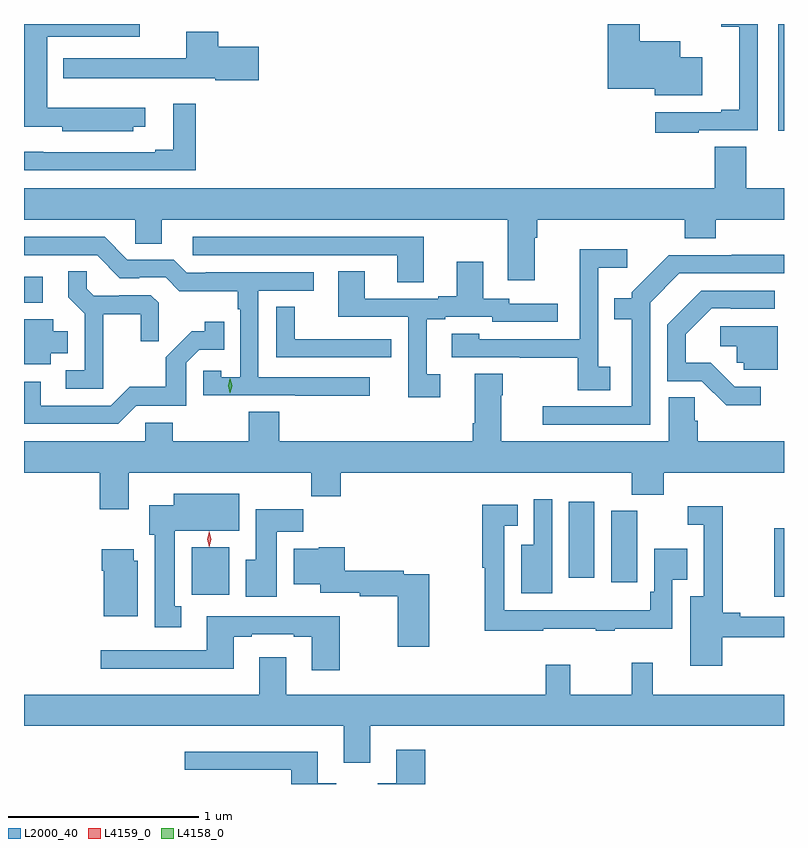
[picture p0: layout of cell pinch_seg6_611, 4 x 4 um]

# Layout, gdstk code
import gdstk
lib = gdstk.Library(unit=1e-6, precision=1e-09)
def R(c, l, rs):  # rectangles x0, y0, x1, y1
    for r in rs: c.add(gdstk.rectangle(r[:2], r[2:], *l))
def P(c, l, *ps):  # polygons
    for p in ps: c.add(gdstk.Polygon(p, *l))
L2000_40 = (2000, 40)
L4158_0 = (4158, 0)
L4159_0 = (4159, 0)

pinch_seg6_611 = lib.new_cell('pinch_seg6_611')
R(pinch_seg6_611, L2000_40, [(469.682,960.003,469.734,960.363), (466.617,960.012,466.813,960.262), (468.824,960.078,468.961,960.454), (468.602,960.102,468.736,960.502), (465.734,961.551,465.832,961.687), (469.703,962.454,469.734,963.017)])
P(pinch_seg6_611, L2000_40, [(466.308,962.477),(466.372,962.477),(466.372,962.575),(465.856,962.575),(465.856,962.949),(466.344,962.949),(466.344,963.017),(465.734,963.017),(465.734,962.477),(465.936,962.477),(465.936,962.453),(466.308,962.453)],
  [(469.303,962.842),(469.189,962.842),(469.189,962.926),(468.976,962.926),(468.976,963.017),(468.806,963.017),(468.806,962.675),(469.055,962.675),(469.055,962.642),(469.303,962.642)],
  [(469.286,962.457),(469.596,962.457),(469.596,963.017),(469.061,963.017),(469.061,963.015),(469.403,963.015),(469.403,963.003),(469.499,963.003),(469.499,962.566),(469.403,962.566),(469.403,962.553),(469.056,962.553),(469.056,962.445),(469.286,962.445)],
  [(466.969,962.898),(466.757,962.898),(466.757,962.977),(466.589,962.977),(466.589,962.836),(465.941,962.836),(465.941,962.732),(466.74,962.732),(466.74,962.72),(466.969,962.72)],
  [(466.637,962.596),(466.52,962.596),(466.52,962.356),(466.424,962.356),(466.424,962.343),(465.836,962.343),(465.836,962.344),(465.734,962.344),(465.734,962.247),(466.637,962.247)],
  [(468.421,961.892),(468.434,961.892),(468.434,961.988),(469.211,961.988),(469.211,961.889),(469.376,961.889),(469.376,961.988),(469.734,961.988),(469.734,962.152),(469.536,962.152),(469.536,962.372),(469.37,962.372),(469.37,962.152),(465.734,962.152),(465.734,961.988),(466.32,961.988),(466.32,961.861),(466.459,961.861),(466.459,961.988),(468.281,961.988),(468.281,961.668),(468.421,961.668)],
  [(467.554,961.158),(466.968,961.158),(466.968,961.614),(467.26,961.614),(467.26,961.71),(466.69,961.71),(466.69,961.707),(466.59,961.707),(466.521,961.776),(466.278,961.776),(466.158,961.896),(465.734,961.896),(465.734,961.8),(466.119,961.8),(466.239,961.68),(466.34,961.68),(466.34,961.683),(466.479,961.683),(466.552,961.61),(466.86,961.61),(466.86,961.517),(466.872,961.517),(466.872,961.159),(466.773,961.159),(466.773,961.191),(466.677,961.191),(466.677,961.062),(467.161,961.062),(467.161,961.06),(467.554,961.06)],
  [(467.839,961.896),(466.623,961.896),(466.623,961.8),(467.699,961.8),(467.699,961.657),(467.839,961.657)],
  [(468.82,961.212),(468.756,961.212),(468.756,961.733),(468.91,961.733),(468.91,961.831),(468.658,961.831),(468.658,961.592),(468.66,961.592),(468.66,961.359),(468.129,961.359),(468.129,961.387),(467.985,961.387),(467.985,961.263),(468.343,961.263),(468.343,961.261),(468.648,961.261),(468.648,961.09),(468.82,961.09)],
  [(469.029,961.551),(469.182,961.704),(469.734,961.704),(469.734,961.802),(469.459,961.802),(469.459,961.8),(469.128,961.8),(468.933,961.605),(468.933,961.573),(468.841,961.573),(468.841,961.464),(468.932,961.464),(468.932,961.005),(468.465,961.005),(468.465,960.909),(469.029,960.909)],
  [(467.926,961.173),(467.854,961.173),(467.854,961.464),(467.95,961.464),(467.95,961.476),(468.198,961.476),(468.198,961.449),(468.544,961.449),(468.544,961.545),(468.288,961.545),(468.288,961.572),(468.151,961.572),(468.151,961.765),(468.011,961.765),(468.011,961.585),(467.915,961.585),(467.915,961.572),(467.527,961.572),(467.527,961.715),(467.387,961.715),(467.387,961.476),(467.757,961.476),(467.757,961.053),(467.926,961.053)],
  [(466.151,961.49),(466.348,961.49),(466.348,961.347),(466.442,961.347),(466.442,961.549),(466.401,961.59),(466.236,961.59),(466.236,961.587),(466.102,961.587),(466.065,961.624),(466.065,961.715),(465.967,961.715),(465.967,961.579),(466.053,961.493),(466.053,961.194),(465.954,961.194),(465.954,961.098),(466.151,961.098)],
  [(469.612,961.107),(469.476,961.107),(469.349,961.234),(469.216,961.234),(469.216,961.384),(469.353,961.521),(469.453,961.521),(469.453,961.518),(469.684,961.518),(469.684,961.614),(469.298,961.614),(469.119,961.435),(469.119,961.137),(469.302,961.137),(469.43,961.01),(469.612,961.01)],
  [(467.668,961.358),(467.555,961.358),(467.555,961.359),(467.16,961.359),(467.16,961.529),(467.061,961.529),(467.061,961.263),(467.668,961.263)],
  [(465.874,961.283),(465.964,961.283),(465.964,961.399),(465.889,961.399),(465.889,961.462),(465.734,961.462),(465.734,961.226),(465.874,961.226)],
  [(466.326,961.008),(466.587,961.008),(466.587,961.233),(466.656,961.302),(466.787,961.302),(466.787,961.45),(466.686,961.45),(466.686,961.4),(466.616,961.4),(466.479,961.262),(466.479,961.107),(466.29,961.107),(466.191,961.008),(465.823,961.008),(465.823,961.134),(465.734,961.134),(465.734,960.912),(466.23,960.912)],
  [(469.702,961.425),(469.398,961.425),(469.398,961.322),(469.485,961.322),(469.485,961.233),(469.521,961.233),(469.521,961.197),(469.702,961.197)],
  [(466.285,960.656),(467.245,960.656),(467.245,960.532),(467.402,960.532),(467.402,960.656),(468.932,960.656),(468.932,960.539),(469.102,960.539),(469.102,960.656),(469.734,960.656),(469.734,960.82),(469.28,960.82),(469.28,960.93),(469.265,960.93),(469.265,961.052),(469.127,961.052),(469.127,960.82),(468.247,960.82),(468.247,961.064),(468.255,961.064),(468.255,961.177),(468.107,961.177),(468.107,960.916),(468.095,960.916),(468.095,960.82),(467.078,960.82),(467.078,960.977),(466.918,960.977),(466.918,960.82),(466.518,960.82),(466.518,960.918),(466.371,960.918),(466.371,960.82),(465.734,960.82),(465.734,960.656),(466.133,960.656),(466.133,960.462),(466.285,960.462)],
  [(466.561,959.953),(466.528,959.953),(466.528,960.35),(466.867,960.35),(466.867,960.544),(466.523,960.544),(466.523,960.484),(466.394,960.484),(466.394,960.33),(466.421,960.33),(466.421,959.841),(466.561,959.841)],
  [(468.513,960.517),(468.417,960.517),(468.417,960.277),(468.35,960.277),(468.35,960.021),(468.513,960.021)],
  [(468.468,959.834),(468.743,959.834),(468.743,959.823),(468.843,959.823),(468.843,959.834),(469.146,959.834),(469.146,960.092),(469.226,960.092),(469.226,960.255),(469.05,960.255),(469.05,960.028),(469.03,960.028),(469.03,959.932),(468.61,959.932),(468.61,959.931),(468.261,959.931),(468.261,960.377),(468.332,960.377),(468.332,960.487),(468.145,960.487),(468.145,960.156),(468.16,960.156),(468.16,959.823),(468.468,959.823)],
  [(469.408,959.79),(469.734,959.79),(469.734,959.898),(469.504,959.898),(469.504,959.918),(469.412,959.918),(469.412,960.478),(469.227,960.478),(469.227,960.381),(469.311,960.381),(469.311,960.004),(469.241,960.004),(469.241,959.64),(469.408,959.64)],
  [(467.065,960.344),(467.204,960.344),(467.204,960.462),(466.955,960.462),(466.955,960.196),(466.901,960.196),(466.901,960.003),(467.065,960.003)],
  [(467.866,960.12),(467.732,960.12),(467.732,960.14),(467.422,960.14),(467.422,960.262),(467.286,960.262),(467.286,960.256),(467.153,960.256),(467.153,960.068),(467.294,960.068),(467.294,960.024),(467.5,960.024),(467.5,960.004),(467.701,960.004),(467.701,959.739),(467.866,959.739)],
  [(466.333,960.192),(466.312,960.192),(466.312,960.253),(466.142,960.253),(466.142,960.14),(466.154,960.14),(466.154,959.9),(466.333,959.9)],
  [(467.397,959.901),(466.697,959.901),(466.697,959.721),(466.137,959.721),(466.137,959.624),(466.837,959.624),(466.837,959.793),(466.933,959.793),(466.933,959.805),(467.153,959.805),(467.153,959.793),(467.249,959.793),(467.249,959.616),(467.397,959.616)],
  [(467.557,959.324),(469.734,959.324),(469.734,959.488),(469.043,959.488),(469.043,959.656),(468.933,959.656),(468.933,959.488),(468.61,959.488),(468.61,959.644),(468.481,959.644),(468.481,959.488),(467.113,959.488),(467.113,959.683),(466.973,959.683),(466.973,959.488),(465.734,959.488),(465.734,959.324),(467.417,959.324),(467.417,959.13),(467.557,959.13)],
  [(467.846,959.197),(467.693,959.197),(467.693,959.02),(467.597,959.02),(467.597,959.017),(467.846,959.017)],
  [(467.377,959.02),(467.281,959.02),(467.281,959.188),(466.581,959.188),(466.581,959.091),(467.141,959.091),(467.141,959.017),(467.377,959.017)])
P(pinch_seg6_611, L4158_0, [(466.818,961.077),(466.809,961.113),(466.818,961.149),(466.819,961.149),(466.819,961.149),(466.829,961.113),(466.819,961.077),(466.819,961.077)])
P(pinch_seg6_611, L4159_0, [(466.709,960.264),(466.709,960.264),(466.699,960.305),(466.709,960.346),(466.709,960.346),(466.709,960.346),(466.719,960.305),(466.709,960.264)])

lib.write_gds('pinch_seg6_611.gds')
